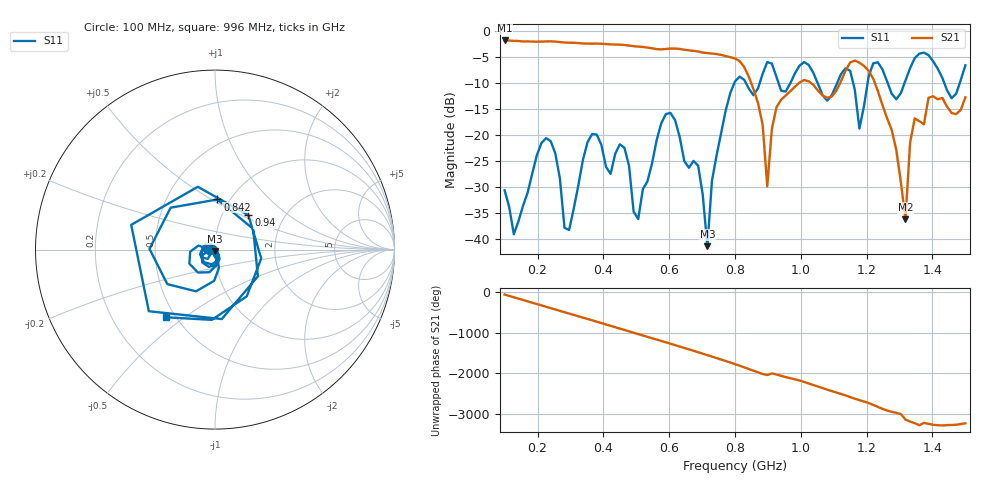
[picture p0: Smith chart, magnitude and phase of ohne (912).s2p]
! NanoVNA-App
! Date: 2025-09-25 14:27:54
! Start: 100MHz Stop: 1,5GHz Points: 101
! S-Parameter data: F S11 S21 S12 S22
# Hz S RI R 50
!  Frequency  S11_Real  S11_Imag  S21_Real  S21_Imag  S12_Real  S12_Imag  S22_Real  S22_Imag
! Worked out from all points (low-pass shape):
!   101 points, 100 MHz to 1.5 GHz, reference 50 ohm
!   highest |S21| = -1.79 dB at 100 MHz (marker M1); lowest = -36.2 dB at 1.318 GHz (marker M2)
!   |S21| within 3 dB of the highest: start of sweep to 771.4 MHz
!   lowest |S11| = -41.4 dB at 716 MHz (marker M3), VSWR 1.02, Z = 49.8 - j0.821 ohm
!   |S11| at or under -10 dB: start of sweep to 798 MHz; 833.2 MHz to 875 MHz (41.85 MHz wide, 4.9 % of centre); 1.051 GHz to 1.11 GHz (59.23 MHz wide, 5.48 % of centre) (the widest 3 of 7)
!   S12 and S22 are empty: the file has one direction only
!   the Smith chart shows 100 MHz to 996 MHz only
!   S11 on the Smith chart (normalised r, x): 100 MHz: 0.94, -0.01; 842 MHz: 0.88, +0.53; 940 MHz: 1.33, +0.55; 996 MHz: 0.44, -0.43
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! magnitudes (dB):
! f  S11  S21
! 100 MHz  -30.6  -1.8
! 128 MHz  -39.1  -1.9
! 226 MHz  -20.6  -2.0
! 296 MHz  -38.3  -2.2
! 338 MHz  -24.8  -2.4
! 464 MHz  -22.4  -2.7
! 506 MHz  -36.2  -3.0
! 576 MHz  -17.7  -3.5
! 688 MHz  -25.9  -3.9
! 716 MHz  -41.4  -4.2
! 800 MHz  -9.7  -5.3
! 842 MHz  -11.1  -8.8
! 898 MHz  -6.0  -29.9
! 940 MHz  -11.5  -13.2
! 996 MHz  -6.6  -9.9
! 1.038 GHz  -8.0  -10.3
! 1.178 GHz  -18.8  -6.1
! 1.22 GHz  -6.2  -9.2
! 1.276 GHz  -12.0  -19.0
! 1.318 GHz  -9.5  -36.2
! 1.346 GHz  -5.2  -16.8
! 1.5 GHz  -6.6  -12.7
